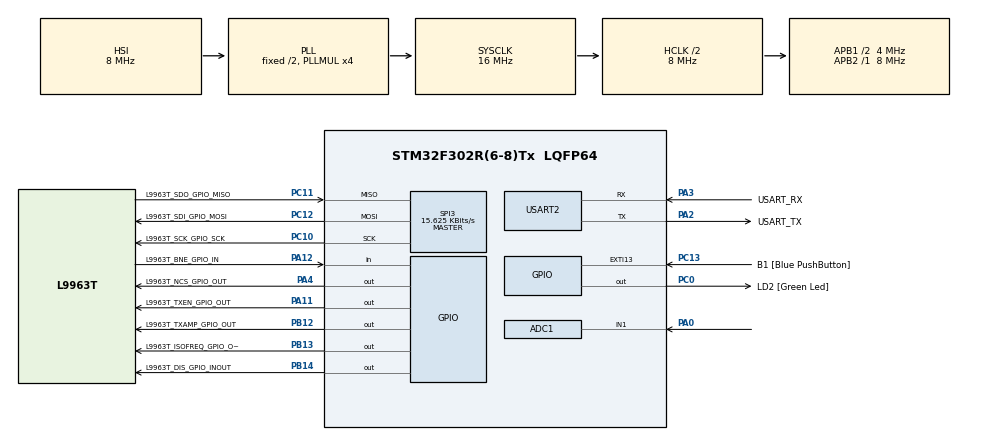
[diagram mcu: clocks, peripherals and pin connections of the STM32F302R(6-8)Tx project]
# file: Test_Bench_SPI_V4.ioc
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ADC1.Channel-0\#ChannelRegularConversion=ADC_CHANNEL_1
ADC1.NbrOfConversionFlag=1
ADC1.Offset-0\#ChannelRegularConversion=0
ADC1.OffsetNumber-0\#ChannelRegularConversion=ADC_OFFSET_NONE
ADC1.Rank-0\#ChannelRegularConversion=1
ADC1.SamplingTime-0\#ChannelRegularConversion=ADC_SAMPLETIME_1CYCLE_5
ADC1.SubFamily=STM32F302x8
ADC1.master=1
Mcu.Family=STM32F3
Mcu.Name=STM32F302R(6-8)Tx
Mcu.Package=LQFP64
NVIC.PriorityGroup=NVIC_PRIORITYGROUP_0
PA0.Mode=IN1-Single-Ended
PA0.Signal=ADC1_IN1
PA11.GPIO_Label=L9963T_TXEN_GPIO_OUT
PA11.Signal=GPIO_Output
PA12.GPIO_Label=L9963T_BNE_GPIO_IN
PA12.Signal=GPIO_Input
PA2.GPIO_Label=USART_TX
PA2.GPIO_Mode=GPIO_MODE_AF_PP
PA2.GPIO_PuPd=GPIO_NOPULL
PA2.GPIO_Speed=GPIO_SPEED_FREQ_LOW
PA2.Mode=Asynchronous
PA2.Signal=USART2_TX
PA3.GPIO_Label=USART_RX
PA3.GPIO_Mode=GPIO_MODE_AF_PP
PA3.GPIO_PuPd=GPIO_NOPULL
PA3.GPIO_Speed=GPIO_SPEED_FREQ_LOW
PA3.Mode=Asynchronous
PA3.Signal=USART2_RX
PA4.GPIO_Label=L9963T_NCS_GPIO_OUT
PA4.Signal=GPIO_Output
PB12.GPIO_Label=L9963T_TXAMP_GPIO_OUT
PB12.Signal=GPIO_Output
PB13.GPIO_Label=L9963T_ISOFREQ_GPIO_OUT
PB13.Signal=GPIO_Output
PB14.GPIO_Label=L9963T_DIS_GPIO_INOUT
PB14.Signal=GPIO_Output
PC0.GPIO_Label=LD2 [Green Led]
PC0.Signal=GPIO_Output
PC10.GPIO_Label=L9963T_SCK_GPIO_SCK
PC10.Mode=Full_Duplex_Master
PC10.Signal=SPI3_SCK
PC11.GPIO_Label=L9963T_SDO_GPIO_MISO
PC11.Mode=Full_Duplex_Master
PC11.Signal=SPI3_MISO
PC12.GPIO_Label=L9963T_SDI_GPIO_MOSI
PC12.Mode=Full_Duplex_Master
PC12.Signal=SPI3_MOSI
PC13.GPIO_Label=B1 [Blue PushButton]
PC13.GPIO_ModeDefaultEXTI=GPIO_MODE_IT_FALLING
PC13.Signal=GPXTI13
PC14\ -\ OSC32_IN.Mode=LSE-External-Oscillator
PC14\ -\ OSC32_IN.Signal=RCC_OSC32_IN
PC15\ -\ OSC32_OUT.Mode=LSE-External-Oscillator
PC15\ -\ OSC32_OUT.Signal=RCC_OSC32_OUT
PF0-OSC_IN.Mode=HSE-External-Clock-Source
PF0-OSC_IN.Signal=RCC_OSC_IN
PF1-OSC_OUT.Signal=RCC_OSC_OUT
ProjectManager.HeapSize=0x200
ProjectManager.StackSize=0x400
ProjectManager.TargetToolchain=STM32CubeIDE
RCC.AHBCLKDivider=RCC_SYSCLK_DIV2
RCC.AHBFreq_Value=8000000
RCC.APB1CLKDivider=RCC_HCLK_DIV2
RCC.APB1Freq_Value=4000000
RCC.APB1TimFreq_Value=8000000
RCC.APB2Freq_Value=8000000
RCC.APB2TimFreq_Value=8000000
RCC.CortexFreq_Value=8000000
RCC.HCLKFreq_Value=8000000
RCC.HSE_VALUE=8000000
RCC.HSI_VALUE=8000000
RCC.PLLM=8
RCC.PLLMUL=RCC_PLL_MUL4
RCC.PLLN=336
RCC.PLLP=RCC_PLLP_DIV4
RCC.PLLQ=7
RCC.RCC_PLLsource_Clock_Source_FROM_HSE=RCC_HSE_PREDIV_DIV2
RCC.SYSCLKFreq_VALUE=16000000
RCC.SYSCLKSourceVirtual=RCC_SYSCLKSOURCE_PLLCLK
RCC.USBFreq_Value=16000000
SPI3.BaudRatePrescaler=SPI_BAUDRATEPRESCALER_256
SPI3.CLKPhase=SPI_PHASE_2EDGE
SPI3.CalculateBaudRate=15.625 KBits/s
SPI3.DataSize=SPI_DATASIZE_8BIT
SPI3.Direction=SPI_DIRECTION_2LINES
SPI3.FirstBit=SPI_FIRSTBIT_MSB
SPI3.Mode=SPI_MODE_MASTER
SPI3.VirtualType=VM_MASTER
USART2.VirtualMode-Asynchronous=VM_ASYNC
board=NUCLEO-F302R8

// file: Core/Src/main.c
/* USER CODE BEGIN Header */
/**
  ******************************************************************************
  * @file           : main.c
  * @brief          : Main program body
  ******************************************************************************
  * @attention
  *
  * Copyright (c) 2026 STMicroelectronics.
  * All rights reserved.
  *
  * This software is licensed under terms that can be found in the LICENSE file
  * in the root directory of this software component.
  * If no LICENSE file comes with this software, it is provided AS-IS.
  *
  ******************************************************************************
  */
/* USER CODE END Header */
#include "main.h"
#include "adc.h"
#include "spi.h"
#include "usart.h"
#include "gpio.h"

/* USER CODE BEGIN PM */
void L9963T_init(void){
	HAL_GPIO_WritePin(L9963T_NCS_GPIO_OUT_GPIO_Port,L9963T_NCS_GPIO_OUT_Pin, GPIO_PIN_SET);
	HAL_GPIO_WritePin(L9963T_TXEN_GPIO_OUT_GPIO_Port,L9963T_TXEN_GPIO_OUT_Pin, GPIO_PIN_SET);
	HAL_GPIO_WritePin(L9963T_TXAMP_GPIO_OUT_GPIO_Port,L9963T_TXAMP_GPIO_OUT_Pin, GPIO_PIN_RESET);
	HAL_GPIO_WritePin(L9963T_ISOFREQ_GPIO_OUT_GPIO_Port,L9963T_ISOFREQ_GPIO_OUT_Pin, GPIO_PIN_RESET);
	HAL_GPIO_WritePin(L9963T_DIS_GPIO_INOUT_GPIO_Port,L9963T_DIS_GPIO_INOUT_Pin, GPIO_PIN_RESET);
}

#define FRAME_SIZE 5
#define SPI_TRANSMIT_TIMEOUT 10

void L9963E_wakeup(void){

	uint8_t wakeup_frame[FRAME_SIZE] = {0x55, 0x55, 0x55, 0x55, 0x55};

	HAL_GPIO_WritePin(L9963T_TXEN_GPIO_OUT_GPIO_Port,L9963T_TXEN_GPIO_OUT_Pin, GPIO_PIN_SET);
	HAL_GPIO_WritePin(L9963T_NCS_GPIO_OUT_GPIO_Port,L9963T_NCS_GPIO_OUT_Pin, GPIO_PIN_RESET);
	HAL_SPI_Transmit(&hspi3, wakeup_frame,FRAME_SIZE,SPI_TRANSMIT_TIMEOUT );
	HAL_GPIO_WritePin(L9963T_NCS_GPIO_OUT_GPIO_Port,L9963T_NCS_GPIO_OUT_Pin, GPIO_PIN_SET);
	HAL_GPIO_WritePin(L9963T_TXEN_GPIO_OUT_GPIO_Port,L9963T_TXEN_GPIO_OUT_Pin, GPIO_PIN_RESET);

}

void l9963TL_SPI_Transmit(SPI_HandleTypeDef *hspi, uint8_t *pData, uint16_t Size, uint32_t Timeout){

	HAL_GPIO_WritePin(L9963T_TXEN_GPIO_OUT_GPIO_Port,L9963T_TXEN_GPIO_OUT_Pin, GPIO_PIN_SET);
	HAL_GPIO_WritePin(L9963T_NCS_GPIO_OUT_GPIO_Port,L9963T_NCS_GPIO_OUT_Pin, GPIO_PIN_RESET);
	HAL_SPI_Transmit(hspi, pData,Size,Timeout);
	HAL_GPIO_WritePin(L9963T_NCS_GPIO_OUT_GPIO_Port,L9963T_NCS_GPIO_OUT_Pin, GPIO_PIN_SET);
	HAL_GPIO_WritePin(L9963T_TXEN_GPIO_OUT_GPIO_Port,L9963T_TXEN_GPIO_OUT_Pin, GPIO_PIN_RESET);

}
void L9963TL_SPI_WaitAndRecieve(SPI_HandleTypeDef *hspi, uint8_t *pData, uint16_t Size, uint32_t Timeout){
	while(HAL_GPIO_ReadPin(L9963T_DIS_GPIO_INOUT_GPIO_Port,L9963T_DIS_GPIO_INOUT_Pin) != 0);
	HAL_GPIO_WritePin(L9963T_NCS_GPIO_OUT_GPIO_Port,L9963T_NCS_GPIO_OUT_Pin, GPIO_PIN_RESET);
	HAL_SPI_Receive(hspi, pData,Size,Timeout);
	HAL_GPIO_WritePin(L9963T_NCS_GPIO_OUT_GPIO_Port,L9963T_NCS_GPIO_OUT_Pin, GPIO_PIN_SET);
}

void L9963E_init(uint8_t n_slaves){
	uint8_t x = 0;

	L9963E_wakeup();
	HAL_Delay(2);
	L9963E_wakeup();
	uint8_t init_frame[FRAME_SIZE] = {0x83, 0x84, 0x00, 0x00, 0xB7};
	uint8_t RX_frame[FRAME_SIZE] = {0x00, 0x00, 0x00, 0x00, 0x00};

	HAL_Delay(10);
	//while(x < n_slaves){
		l9963TL_SPI_Transmit(&hspi3, init_frame,FRAME_SIZE,SPI_TRANSMIT_TIMEOUT);
		//L9963TL_SPI_WaitAndRecieve(&hspi3, RX_frame,FRAME_SIZE,SPI_TRANSMIT_TIMEOUT);
		/*if(1){
			//read back

			// read back sucessfull increment x
			x++;
		}else{

		}
			//send cmd to dev gen reg with
		*/
	//}

}

/* USER CODE END PM */

void SystemClock_Config(void);

int main(void)
{

  /* MCU Configuration--------------------------------------------------------*/

  /* Reset of all peripherals, Initializes the Flash interface and the Systick. */
  HAL_Init();

  /* Configure the system clock */
  SystemClock_Config();

  /* Initialize all configured peripherals */
  MX_GPIO_Init();
  MX_USART2_UART_Init();
  MX_SPI3_Init();
  MX_ADC1_Init();
  /* USER CODE BEGIN 2 */
  L9963T_init();
  L9963E_init(1);
  /* USER CODE END 2 */

  /* Infinite loop */
  while (1)
  {

  }
}

void SystemClock_Config(void)
{
  RCC_OscInitTypeDef RCC_OscInitStruct = {0};
  RCC_ClkInitTypeDef RCC_ClkInitStruct = {0};
  RCC_PeriphCLKInitTypeDef PeriphClkInit = {0};

  /** Initializes the RCC Oscillators according to the specified parameters
  * in the RCC_OscInitTypeDef structure.
  */
  RCC_OscInitStruct.OscillatorType = RCC_OSCILLATORTYPE_HSI;
  RCC_OscInitStruct.HSIState = RCC_HSI_ON;
  RCC_OscInitStruct.HSICalibrationValue = RCC_HSICALIBRATION_DEFAULT;
  RCC_OscInitStruct.PLL.PLLState = RCC_PLL_ON;
  RCC_OscInitStruct.PLL.PLLSource = RCC_PLLSOURCE_HSI;
  RCC_OscInitStruct.PLL.PLLMUL = RCC_PLL_MUL4;
  if (HAL_RCC_OscConfig(&RCC_OscInitStruct) != HAL_OK)
  {
    Error_Handler();
  }

  /** Initializes the CPU, AHB and APB buses clocks
  */
  RCC_ClkInitStruct.ClockType = RCC_CLOCKTYPE_HCLK|RCC_CLOCKTYPE_SYSCLK
                              |RCC_CLOCKTYPE_PCLK1|RCC_CLOCKTYPE_PCLK2;
  RCC_ClkInitStruct.SYSCLKSource = RCC_SYSCLKSOURCE_PLLCLK;
  RCC_ClkInitStruct.AHBCLKDivider = RCC_SYSCLK_DIV2;
  RCC_ClkInitStruct.APB1CLKDivider = RCC_HCLK_DIV2;
  RCC_ClkInitStruct.APB2CLKDivider = RCC_HCLK_DIV1;

  if (HAL_RCC_ClockConfig(&RCC_ClkInitStruct, FLASH_LATENCY_0) != HAL_OK)
  {
    Error_Handler();
  }
  PeriphClkInit.PeriphClockSelection = RCC_PERIPHCLK_ADC1;
  PeriphClkInit.Adc1ClockSelection = RCC_ADC1PLLCLK_DIV1;

  if (HAL_RCCEx_PeriphCLKConfig(&PeriphClkInit) != HAL_OK)
  {
    Error_Handler();
  }
}

void Error_Handler(void)
{
  __disable_irq();
  while (1)
  {
  }
}
